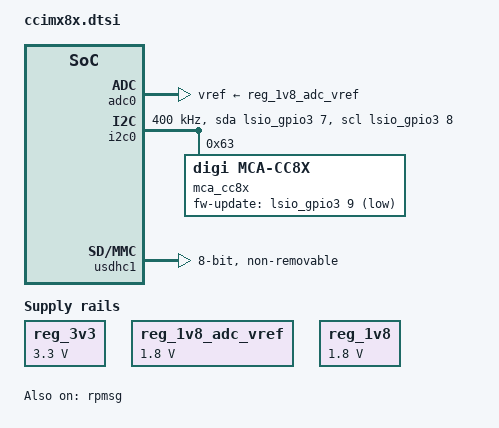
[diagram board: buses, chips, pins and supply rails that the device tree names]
/*
 * Copyright 2018, Digi International Inc.
 *
 * Permission to use, copy, modify, and/or distribute this software for any
 * purpose with or without fee is hereby granted, provided that the above
 * copyright notice and this permission notice appear in all copies.
 * THE SOFTWARE IS PROVIDED "AS IS" AND THE AUTHOR DISCLAIMS ALL WARRANTIES
 * WITH REGARD TO THIS SOFTWARE INCLUDING ALL IMPLIED WARRANTIES OF
 * MERCHANTABILITY AND FITNESS. IN NO EVENT SHALL THE AUTHOR BE LIABLE FOR
 * ANY SPECIAL, DIRECT, INDIRECT, OR CONSEQUENTIAL DAMAGES OR ANY DAMAGES
 * WHATSOEVER RESULTING FROM LOSS OF USE, DATA OR PROFITS, WHETHER IN AN
 * ACTION OF CONTRACT, NEGLIGENCE OR OTHER TORTIOUS ACTION, ARISING OUT OF
 * OR IN CONNECTION WITH THE USE OR PERFORMANCE OF THIS SOFTWARE.
 */

#include <dt-bindings/usb/pd.h>
/ {
	aliases {
		i2c0 = &i2c0;
		i2c1 = &i2c1;
		i2c2 = &i2c2;
		i2c3 = &i2c3;
	};

	caam_keyblob: caam-keyblob {
		compatible = "fsl,sec-v4.0-keyblob";
	};

	reserved-memory {
		linux,cma {
			digi,size-table = <
				/* RAM         CMA*/
				0 0x20000000 0 0x6000000	/* 512 MB variants -> 96 MB of CMA */
				0 0x40000000 0 0x14000000	/* 1 GB variants   -> 320 MB of CMA */
				0 0x80000000 0 0x28000000	/* 2 GB variants   -> 640 MB of CMA */
			>;
		};
	};

	regulators {
		compatible = "simple-bus";
		#address-cells = <1>;
		#size-cells = <0>;

		reg_3v3: regulator-som@1 {
			compatible = "regulator-fixed";
			reg = <1>;
			regulator-name = "3v3";
			regulator-min-microvolt = <3300000>;
			regulator-max-microvolt = <3300000>;
		};

		reg_1v8_adc_vref: regulator-som@2 {
			compatible = "regulator-fixed";
			reg = <2>;
			regulator-name = "1v8_adc_vref";
			regulator-min-microvolt = <1800000>;
			regulator-max-microvolt = <1800000>;
		};

		reg_1v8: regulator-som@3 {
			compatible = "regulator-fixed";
			reg = <3>;
			regulator-name = "1v8";
			regulator-min-microvolt = <1800000>;
			regulator-max-microvolt = <1800000>;
		};
	};
};

&adc0 {
	vref-supply = <&reg_1v8_adc_vref>;
	digi,max-channel = <5>;
};

/* I2C0 connected to MCA and crypto chip */
&i2c0 {
	#address-cells = <1>;
	#size-cells = <0>;
	clock-frequency = <400000>;
	pinctrl-names = "default", "gpio";
	digi,hold-time-ns = <8000>;
	digi,buffer-time-us = <35>;
	pinctrl-0 = <&pinctrl_lpi2c0>;
	pinctrl-1 = <&pinctrl_lpi2c0_gpio>;
	scl-gpios = <&lsio_gpio3 8 GPIO_ACTIVE_HIGH>;
	sda-gpios = <&lsio_gpio3 7 GPIO_ACTIVE_HIGH>;
	status = "okay";

	mca_cc8x: mca@63 {
		compatible = "digi,mca-cc8x";
		reg = <0x63>;
		interrupt-parent = <&gic>;
		interrupts = <GIC_SPI 177 IRQ_TYPE_LEVEL_HIGH>;
		interrupt-controller;
		#interrupt-cells = <2>;
		fw-update-gpio = <&lsio_gpio3 9 GPIO_ACTIVE_LOW>;
		pinctrl-names = "default";
		pinctrl-0 = <&pinctrl_mca_cc8x>;

		mca_adc: adc {
			compatible = "digi,mca-cc8x-adc";
			digi,adc-vref = <3000000>;
		};

		mca_gpio: gpio {
			compatible = "digi,mca-cc8x-gpio";
			gpio-controller;
			#gpio-cells = <2>;

			interrupt-parent = <&mca_cc8x>;
			interrupt-controller;
			#interrupt-cells = <2>;

			/* Disable all mca GPIOs as power off wake up sources */
			pwroff-wakeup-capable-ios = <>;
		};

		pwrkey {
			compatible = "digi,mca-cc8x-pwrkey";
			digi,key-power;
			digi,key-power-up;
			digi,key-sleep;
			digi,debounce-ms = <100>;
			digi,pwroff-delay-sec = <6>;
			digi,pwroff-guard-sec = <30>;
		};

		rtc {
			compatible = "digi,mca-cc8x-rtc";
		};

		wdt {
			compatible = "digi,mca-cc8x-wdt";
			digi,full-reset;
		};

		pwms {
			compatible = "digi,mca-pwm";
			#address-cells = <1>;
			#size-cells = <0>;

			mca_pwm0: pwm@0 {
				reg = <0>;
				pwm-channels = <6>;
				#pwm-cells = <3>;
			};

			mca_pwm1: pwm@1 {
				reg = <1>;
				pwm-channels = <2>;
				#pwm-cells = <3>;
			};

			mca_pwm2: pwm@2 {
				reg = <2>;
				pwm-channels = <2>;
				#pwm-cells = <3>;
			};
		};

		mca_tamper: tamper {
			compatible = "digi,mca-cc8x-tamper";
		};

		mca_uart: uart {
			compatible = "digi,mca-cc8x-uart";
			#address-cells = <1>;
			#size-cells = <0>;

			mca_uart0: serial@0x900 {
				reg = <0x900>;
				index = <0>;
			};

			mca_uart1: serial@0x920 {
				reg = <0x920>;
				index = <1>;
			};

			mca_uart2: serial@0x940 {
				reg = <0x940>;
				index = <2>;
			};
		};
	};
};

/* Disable CPU RTC */
&rtc {
	status = "disabled";
};

/* Disable CPU watchdog 
&watchdog {
	status = "disabled";
};*/

&imx8_gpu_ss {
	/*
	 * Use a table to set a fixed amount of contiguous memory used by the GPU
	 * per memory configuration. This way we leave plenty of room for the
	 * other system features when the memory is limited. The table's rows must
	 * be in increasing RAM order. The GPU CMA should always be smaller than the
	 * total CMA (see the table in the "reserved-memory" node to see the total CMA
	 * values per memory configuration).
	 */
	digi,contiguous-size-table = <
		/* RAM     CMA*/
		0x20000000 0x2000000	/* 512 MB variants -> 32 MB of GPU CMA */
		0x40000000 0x8000000	/* 1 GB variants   -> 128 MB of GPU CMA */
		0x80000000 0x10000000	/* 2 GB variants   -> 256 MB of GPU CMA */
	>;
};

/*&mu {
	/*
	 * Skip the registration of the SC interrupt handler on the MU ipc code.
	 * The MCA will register its own interrupt handler and will call the
	 * MU isr acordingly.
	 
	digi,skip-irq-req;
};*/

&rpmsg{
	/*
	 * 64K for one rpmsg instance:
	 */
	vdev-nums = <2>;
	reg = <0x0 0x90000000 0x0 0x20000>;
	status = "okay";
};

&tsens {
	tsens-num = <3>;
};

&thermal_zones {
	pmic-thermal0 {
		polling-delay-passive = <250>;
		polling-delay = <2000>;
		thermal-sensors = <&tsens 2>;
		trips {
			pmic_alert0: trip0 {
				temperature = <85000>;
				hysteresis = <2000>;
				type = "passive";
			};
			pmic_crit0: trip1 {
				temperature = <105000>;
				hysteresis = <2000>;
				type = "critical";
			};
		};
		cooling-maps {
			map0 {
				trip = <&pmic_alert0>;
				cooling-device = <&A35_0 THERMAL_NO_LIMIT THERMAL_NO_LIMIT>;
			};
		};
	};
};

/* eMMC */
&usdhc1 {
	pinctrl-names = "default", "state_100mhz", "state_200mhz";
	pinctrl-0 = <&pinctrl_usdhc1>;
	pinctrl-1 = <&pinctrl_usdhc1_100mhz>;
	pinctrl-2 = <&pinctrl_usdhc1_200mhz>;
	bus-width = <8>;
	non-removable;
	/*
	 * This property should be removed once the eMMC voltage is configured
	 * to 1.8V.
	 */
	no-1-8-v;
	status = "okay";
};

/*&vpu {
	status = "disabled";
};*/

&vpu_decoder {
	core_type = <1>;
	status = "disabled";
};

&vpu_encoder {
	status = "disabled";
};

/* IOMUX */
&iomuxc {
	/* Internal I2C (MCA, Crypto chip) */
	pinctrl_lpi2c0: lpi2c0grp {
		fsl,pins = <
			IMX8QXP_MIPI_CSI0_GPIO0_00_ADMA_I2C0_SCL	0xc6000066
			IMX8QXP_MIPI_CSI0_GPIO0_01_ADMA_I2C0_SDA	0xc6000066
		>;
	};

	pinctrl_lpi2c0_gpio: lpi2c0gpiogrp {
		fsl,pins = <
			IMX8QXP_MIPI_CSI0_GPIO0_00_LSIO_GPIO3_IO08	0xc6000066
			IMX8QXP_MIPI_CSI0_GPIO0_01_LSIO_GPIO3_IO07	0xc6000066
		>;
	};

	pinctrl_mca_cc8x: mcagrp {
		fsl,pins = <
			/*
			 * MCA_nINT
			 *
			 * Currently, the MCA interrupt request line is
			 * configured by the SCU
			 *
			 * IMX8QXP_PMIC_INT_B_SCU_DSC_PMIC_INT_B	0xb0b1
			 */

			/* MCA_FW_UPDATE */
			IMX8QXP_QSPI0A_DATA0_LSIO_GPIO3_IO09	0x06000021
		>;
	};

	/* eMMC */
	pinctrl_usdhc1: usdhc1grp {
		fsl,pins = <
			IMX8QXP_EMMC0_CLK_CONN_EMMC0_CLK		0x06000041
			IMX8QXP_EMMC0_CMD_CONN_EMMC0_CMD		0x00000021
			IMX8QXP_EMMC0_DATA0_CONN_EMMC0_DATA0	0x00000021
			IMX8QXP_EMMC0_DATA1_CONN_EMMC0_DATA1	0x00000021
			IMX8QXP_EMMC0_DATA2_CONN_EMMC0_DATA2	0x00000021
			IMX8QXP_EMMC0_DATA3_CONN_EMMC0_DATA3	0x00000021
			IMX8QXP_EMMC0_DATA4_CONN_EMMC0_DATA4	0x00000021
			IMX8QXP_EMMC0_DATA5_CONN_EMMC0_DATA5	0x00000021
			IMX8QXP_EMMC0_DATA6_CONN_EMMC0_DATA6	0x00000021
			IMX8QXP_EMMC0_DATA7_CONN_EMMC0_DATA7	0x00000021
			IMX8QXP_EMMC0_STROBE_CONN_EMMC0_STROBE	0x00000041
		>;
	};

	pinctrl_usdhc1_100mhz: usdhc1grp100mhz {
		fsl,pins = <
			IMX8QXP_EMMC0_CLK_CONN_EMMC0_CLK		0x06000041
			IMX8QXP_EMMC0_CMD_CONN_EMMC0_CMD		0x00000021
			IMX8QXP_EMMC0_DATA0_CONN_EMMC0_DATA0	0x00000021
			IMX8QXP_EMMC0_DATA1_CONN_EMMC0_DATA1	0x00000021
			IMX8QXP_EMMC0_DATA2_CONN_EMMC0_DATA2	0x00000021
			IMX8QXP_EMMC0_DATA3_CONN_EMMC0_DATA3	0x00000021
			IMX8QXP_EMMC0_DATA4_CONN_EMMC0_DATA4	0x00000021
			IMX8QXP_EMMC0_DATA5_CONN_EMMC0_DATA5	0x00000021
			IMX8QXP_EMMC0_DATA6_CONN_EMMC0_DATA6	0x00000021
			IMX8QXP_EMMC0_DATA7_CONN_EMMC0_DATA7	0x00000021
			IMX8QXP_EMMC0_STROBE_CONN_EMMC0_STROBE	0x00000041
		>;
	};

	pinctrl_usdhc1_200mhz: usdhc1grp200mhz {
		fsl,pins = <
			IMX8QXP_EMMC0_CLK_CONN_EMMC0_CLK		0x06000041
			IMX8QXP_EMMC0_CMD_CONN_EMMC0_CMD		0x00000021
			IMX8QXP_EMMC0_DATA0_CONN_EMMC0_DATA0	0x00000021
			IMX8QXP_EMMC0_DATA1_CONN_EMMC0_DATA1	0x00000021
			IMX8QXP_EMMC0_DATA2_CONN_EMMC0_DATA2	0x00000021
			IMX8QXP_EMMC0_DATA3_CONN_EMMC0_DATA3	0x00000021
			IMX8QXP_EMMC0_DATA4_CONN_EMMC0_DATA4	0x00000021
			IMX8QXP_EMMC0_DATA5_CONN_EMMC0_DATA5	0x00000021
			IMX8QXP_EMMC0_DATA6_CONN_EMMC0_DATA6	0x00000021
			IMX8QXP_EMMC0_DATA7_CONN_EMMC0_DATA7	0x00000021
			IMX8QXP_EMMC0_STROBE_CONN_EMMC0_STROBE	0x00000041
		>;
	};
};
